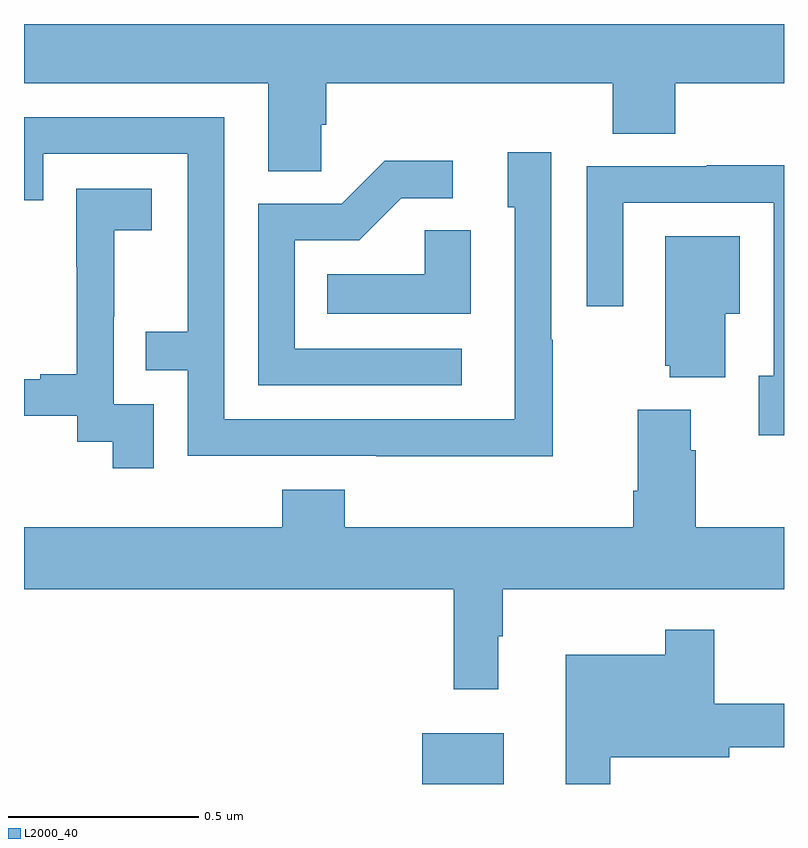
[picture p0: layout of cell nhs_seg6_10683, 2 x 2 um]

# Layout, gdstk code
import gdstk
lib = gdstk.Library(unit=1e-6, precision=1e-09)
def R(c, l, rs):  # rectangles x0, y0, x1, y1
    for r in rs: c.add(gdstk.rectangle(r[:2], r[2:], *l))
def P(c, l, *ps):  # polygons
    for p in ps: c.add(gdstk.Polygon(p, *l))
L2000_40 = (2000, 40)

nhs_seg6_10683 = lib.new_cell('nhs_seg6_10683')
R(nhs_seg6_10683, L2000_40, [(251.048,937.5,251.263,937.633)])
P(nhs_seg6_10683, L2000_40, [(250.782,939.235),(250.796,939.235),(250.796,939.344),(251.549,939.344),(251.549,939.211),(251.714,939.211),(251.714,939.344),(252,939.344),(252,939.5),(250,939.5),(250,939.344),(250.643,939.344),(250.643,939.112),(250.782,939.112)],
  [(251.391,938.669),(251.388,938.669),(251.388,939.163),(251.273,939.163),(251.273,939.018),(251.292,939.018),(251.292,938.46),(250.527,938.46),(250.527,939.255),(250,939.255),(250,939.036),(250.05,939.036),(250.05,939.159),(250.431,939.159),(250.431,938.69),(250.321,938.69),(250.321,938.589),(250.431,938.589),(250.431,938.364),(250.927,938.364),(250.927,938.363),(251.391,938.363)],
  [(251.152,938.646),(250.713,938.646),(250.713,938.931),(250.882,938.931),(250.993,939.042),(251.128,939.042),(251.128,939.14),(250.949,939.14),(250.836,939.027),(250.617,939.027),(250.617,938.55),(251.152,938.55)],
  [(252,939.128),(251.797,939.128),(251.797,939.126),(251.481,939.126),(251.481,938.757),(251.577,938.757),(251.577,939.03),(251.973,939.03),(251.973,938.574),(251.933,938.574),(251.933,938.418),(252,938.418)],
  [(250.341,938.499),(250.236,938.499),(250.236,938.729),(250.238,938.729),(250.238,938.957),(250.336,938.957),(250.336,939.067),(250.138,939.067),(250.138,938.861),(250.139,938.861),(250.139,938.578),(250.043,938.578),(250.043,938.565),(250,938.565),(250,938.469),(250.14,938.469),(250.14,938.401),(250.233,938.401),(250.233,938.331),(250.341,938.331)],
  [(251.176,938.957),(251.055,938.957),(251.055,938.842),(250.798,938.842),(250.798,938.738),(251.176,938.738)],
  [(251.845,938.738),(251.884,938.738),(251.884,938.941),(251.687,938.941),(251.687,938.601),(251.699,938.601),(251.699,938.57),(251.845,938.57)],
  [(251.248,937.889),(251.26,937.889),(251.26,938.012),(252,938.012),(252,938.176),(251.768,938.176),(251.768,938.378),(251.755,938.378),(251.755,938.485),(251.615,938.485),(251.615,938.272),(251.603,938.272),(251.603,938.176),(250.844,938.176),(250.844,938.275),(250.679,938.275),(250.679,938.176),(250,938.176),(250,938.012),(251.131,938.012),(251.131,937.749),(251.248,937.749)],
  [(251.543,937.571),(251.856,937.571),(251.856,937.597),(252,937.597),(252,937.711),(251.816,937.711),(251.816,937.906),(251.688,937.906),(251.688,937.84),(251.426,937.84),(251.426,937.5),(251.543,937.5)])

lib.write_gds('nhs_seg6_10683.gds')
